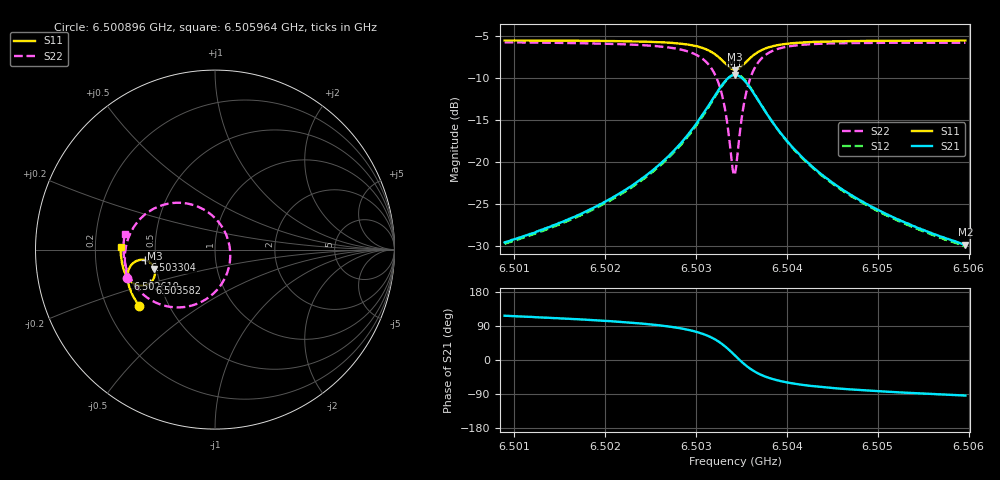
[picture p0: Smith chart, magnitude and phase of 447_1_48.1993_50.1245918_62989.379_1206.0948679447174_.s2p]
#  HZ  S  RI  R  50.00
! Rohde & Schwarz Vector Network Analyzer
! Rohde-Schwarz,ZNB20-2Port,1311601062101988,3.16
! Created: UTC 3/20/2024, 11:56:04 AM
! freq[Hz]  re:S11  im:S11  re:S21  im:S21  re:S12  im:S12  re:S22  im:S22
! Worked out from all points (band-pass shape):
!   401 points, 6.500896 GHz to 6.505964 GHz, reference 50 ohm
!   highest |S21| = -9.67 dB at 6.50343 GHz (marker M1); lowest = -29.9 dB at 6.505964 GHz (marker M2)
!   |S21| within 3 dB of the highest: 6.503177 GHz to 6.503684 GHz (506.9 kHz wide, 0.00779 % of centre)
!   lowest |S11| = -9.0 dB at 6.50343 GHz (marker M3), VSWR 2.09, Z = 24.3 - j5.95 ohm
!   |S11| at or under -10 dB: nowhere
!   |S22| runs from -21.6 to -5.8 dB; largest |S21 - S12| = 0.012
!   S11 on the Smith chart (normalised r, x): 6.500896 GHz: 0.34, -0.29; 6.502619 GHz: 0.33, -0.15; 6.503304 GHz: 0.44, -0.06; 6.503582 GHz: 0.44, -0.20; 6.505964 GHz: 0.31, +0.01
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6.5008962e9  -0.424 -0.3122  -0.015 0.0296  -0.0133 0.0297  -0.4877 -0.1598
6.5017451e9  -0.4607 -0.2499  -0.0144 0.0473  -0.0119 0.047  -0.5021 -0.0706
6.5022393e9  -0.4782 -0.2062  -0.0112 0.068  -0.00813 0.0669  -0.4988 -0.000404
6.5025941e9  -0.4867 -0.167  -0.00268 0.0959  0.00106 0.0936  -0.4806 0.0704
6.5026194e9  -0.4869 -0.1637  -0.00148 0.0986  0.00217 0.0961  -0.478 0.0766
6.5029108e9  -0.4834 -0.1192  0.0255 0.1423  0.0292 0.1378  -0.4219 0.1655
6.5031009e9  -0.4622 -0.0811  0.0791 0.1842  0.0817 0.1782  -0.3194 0.238
6.5032149e9  -0.4299 -0.0603  0.1479 0.2021  0.1487 0.1957  -0.1958 0.2608
6.5033036e9  -0.3895 -0.0584  0.2273 0.1862  0.2275 0.1812  -0.0591 0.2213
6.5033416e9  -0.3704 -0.0659  0.2635 0.1634  0.2643 0.1588  0.000881 0.1747
6.503405e9  -0.3436 -0.0925  0.3113 0.0997  0.314 0.0949  0.0732 0.0524
6.5034303e9  -0.3371 -0.1071  0.3216 0.0675  0.3248 0.0618  0.0844 -0.00751
6.5034556e9  -0.3342 -0.1228  0.3254 0.0339  0.3288 0.027  0.0828 -0.0689
6.503519e9  -0.3411 -0.16  0.3074 -0.0442  0.3097 -0.0541  0.0277 -0.2043
6.5035823e9  -0.3623 -0.186  0.2647 -0.0985  0.2637 -0.1095  -0.0686 -0.2872
6.5036837e9  -0.4018 -0.2013  0.19 -0.1347  0.1847 -0.1441  -0.2188 -0.3218
6.5038484e9  -0.448 -0.1917  0.1084 -0.1317  0.1014 -0.1367  -0.3656 -0.2756
6.5040258e9  -0.4754 -0.1704  0.0638 -0.1117  0.0577 -0.114  -0.4378 -0.2108
6.5042792e9  -0.4963 -0.1405  0.0339 -0.0874  0.0293 -0.0879  -0.4813 -0.1387
6.5046847e9  -0.5125 -0.0984  0.0142 -0.0631  0.0109 -0.0628  -0.5044 -0.0599
6.5051281e9  -0.5211 -0.0577  0.0051 -0.0478  0.00276 -0.0471  -0.51 0.00154
6.5059644e9  -0.5261 0.013  -0.00213 -0.0321  -0.00336 -0.0314  -0.5021 0.0895
